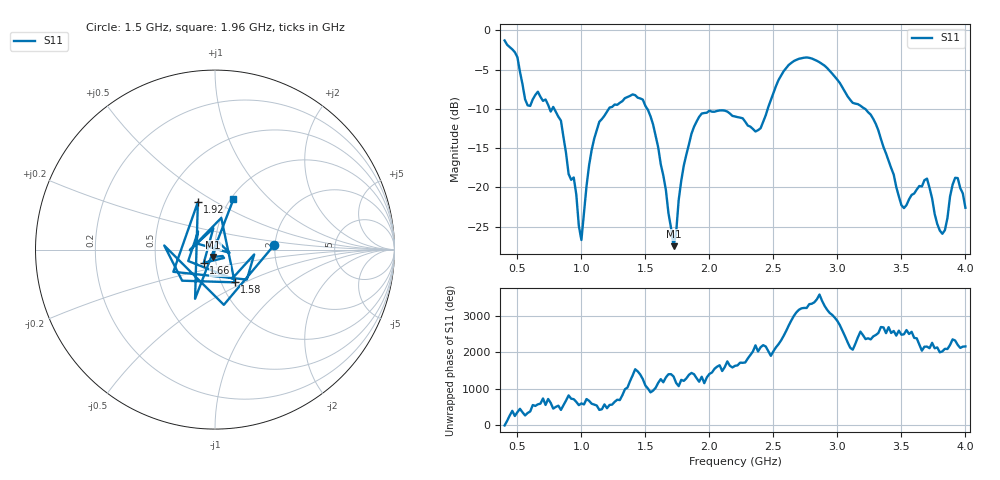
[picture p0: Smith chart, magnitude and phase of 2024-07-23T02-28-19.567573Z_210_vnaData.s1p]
!Created with skrf (http://scikit-rf.org).
# Hz S RI R 50.0
!freq ReS11 ImS11
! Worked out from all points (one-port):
!   181 points, 400 MHz to 4 GHz, reference 50 ohm
!   lowest |S11| = -27.5 dB at 1.72 GHz (marker M1), VSWR 1.09, Z = 48.8 - j3.99 ohm
!   |S11| at or under -10 dB: 788.1 MHz to 1.213 GHz (425.2 MHz wide, 42.5 % of centre); 1.515 GHz to 2.455 GHz (940.4 MHz wide, 47.4 % of centre); 3.217 GHz to end of sweep (the widest 3 of 4)
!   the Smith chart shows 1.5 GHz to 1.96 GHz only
!   S11 on the Smith chart (normalised r, x): 1.5 GHz: 1.98, +0.11; 1.58 GHz: 1.16, -0.44; 1.66 GHz: 0.87, -0.13; 1.92 GHz: 0.72, +0.42; 1.96 GHz: 1.03, +0.63
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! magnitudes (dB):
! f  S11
! 400 MHz  -1.3
! 500 MHz  -3.4
! 580 MHz  -9.5
! 660 MHz  -7.8
! 860 MHz  -13.6
! 900 MHz  -18.3
! 940 MHz  -18.7
! 1 GHz  -26.7
! 1.1 GHz  -13.8
! 1.3 GHz  -9.2
! 1.5 GHz  -9.6
! 1.58 GHz  -13.4
! 1.66 GHz  -20.3
! 1.72 GHz  -27.5
! 1.76 GHz  -21.6
! 1.92 GHz  -11.0
! 1.96 GHz  -10.5
! 2.2 GHz  -11.0
! 2.4 GHz  -12.5
! 2.66 GHz  -3.9
! 3.1 GHz  -8.8
! 3.28 GHz  -11.3
! 3.5 GHz  -22.3
! 3.56 GHz  -21.5
! 3.7 GHz  -18.9
! 3.82 GHz  -25.9
! 3.92 GHz  -18.8
! 4 GHz  -22.6
